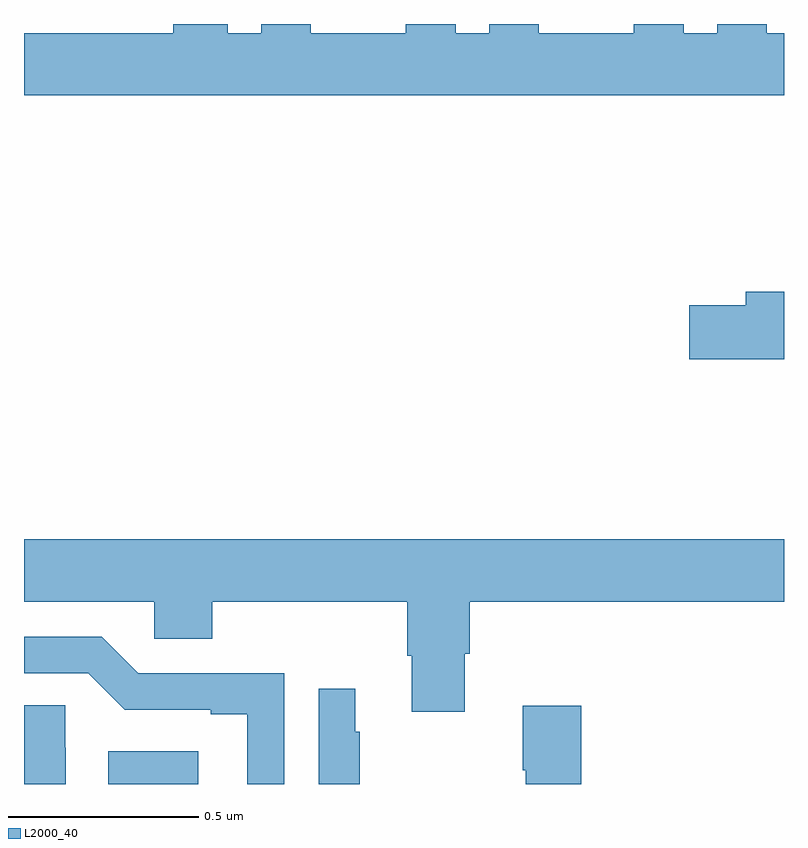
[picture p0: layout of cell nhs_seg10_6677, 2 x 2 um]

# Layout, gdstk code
import gdstk
lib = gdstk.Library(unit=1e-6, precision=1e-09)
def R(c, l, rs):  # rectangles x0, y0, x1, y1
    for r in rs: c.add(gdstk.rectangle(r[:2], r[2:], *l))
def P(c, l, *ps):  # polygons
    for p in ps: c.add(gdstk.Polygon(p, *l))
L2000_40 = (2000, 40)

nhs_seg10_6677 = lib.new_cell('nhs_seg10_6677')
R(nhs_seg10_6677, L2000_40, [(194.222,1302.5,194.458,1302.586)])
P(nhs_seg10_6677, L2000_40, [(195.824,1304.5),(195.824,1304.476),(195.736,1304.476),(195.736,1304.5),(195.605,1304.5),(195.605,1304.476),(195.355,1304.476),(195.355,1304.5),(195.224,1304.5),(195.224,1304.476),(195.136,1304.476),(195.136,1304.5),(195.005,1304.5),(195.005,1304.476),(194.755,1304.476),(194.755,1304.5),(194.624,1304.5),(194.624,1304.476),(194.536,1304.476),(194.536,1304.5),(194.393,1304.5),(194.393,1304.476),(194,1304.476),(194,1304.312),(196,1304.312),(196,1304.476),(195.955,1304.476),(195.955,1304.5)],
  [(196,1303.796),(195.899,1303.796),(195.899,1303.76),(195.75,1303.76),(195.75,1303.618),(196,1303.618)],
  [(194,1302.98),(194.343,1302.98),(194.343,1302.882),(194.495,1302.882),(194.495,1302.98),(195.008,1302.98),(195.008,1302.838),(195.02,1302.838),(195.02,1302.69),(195.16,1302.69),(195.16,1302.843),(195.173,1302.843),(195.173,1302.98),(196,1302.98),(196,1303.144),(194,1303.144)],
  [(194.685,1302.792),(194.301,1302.792),(194.205,1302.888),(194,1302.888),(194,1302.792),(194.169,1302.792),(194.265,1302.696),(194.492,1302.696),(194.492,1302.684),(194.588,1302.684),(194.588,1302.5),(194.685,1302.5)],
  [(194.884,1302.638),(194.872,1302.638),(194.872,1302.751),(194.775,1302.751),(194.775,1302.5),(194.884,1302.5)],
  [(194.11,1302.596),(194.109,1302.596),(194.109,1302.707),(194,1302.707),(194,1302.5),(194.11,1302.5)],
  [(195.467,1302.706),(195.313,1302.706),(195.313,1302.536),(195.32,1302.536),(195.32,1302.5),(195.467,1302.5)])

lib.write_gds('nhs_seg10_6677.gds')
